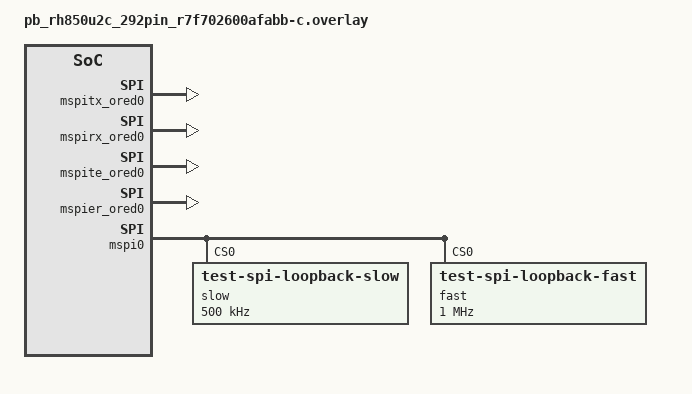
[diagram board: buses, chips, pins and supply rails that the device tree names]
/*
 * Copyright (c) 2026 Renesas Electronics Corporation
 * SPDX-License-Identifier: Apache-2.0
 */

&mspitx_ored0 {
	interrupts = <88 11>;
	status = "okay";
};

&mspirx_ored0 {
	interrupts = <89 10>;
	status = "okay";
};

&mspite_ored0 {
	interrupts = <90 12>;
	status = "okay";
};

&mspier_ored0 {
	interrupts = <91 15>;
	status = "okay";
};

&mspi0 {
	interrupts-extended = <&mspitx_ored0>,
			      <&mspirx_ored0>,
			      <&mspite_ored0>,
			      <&mspier_ored0>;
	spi-cs-sck-delay = <1>;
	spi-sck-sck-delay = <1>;

	slow@0 {
		compatible = "test-spi-loopback-slow";
		reg = <0>;
		spi-max-frequency = <500000>;
	};

	fast@0 {
		compatible = "test-spi-loopback-fast";
		reg = <0>;
		spi-max-frequency = <1000000>;
	};
};
